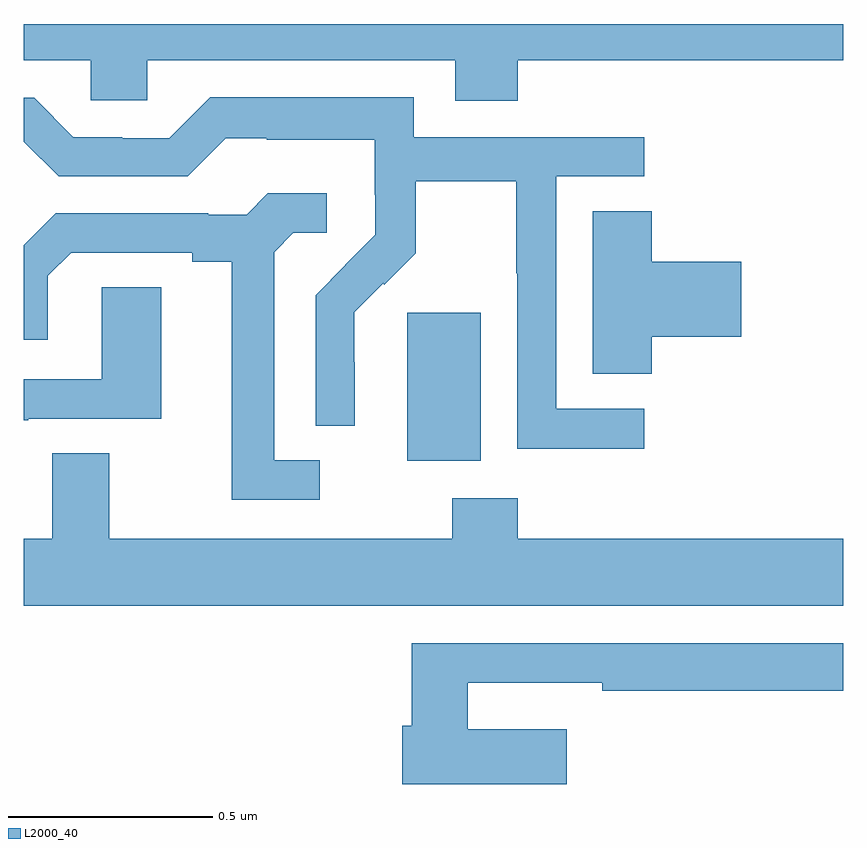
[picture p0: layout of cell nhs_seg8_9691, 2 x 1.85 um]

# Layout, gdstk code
import gdstk
lib = gdstk.Library(unit=1e-6, precision=1e-09)
def R(c, l, rs):  # rectangles x0, y0, x1, y1
    for r in rs: c.add(gdstk.rectangle(r[:2], r[2:], *l))
def P(c, l, *ps):  # polygons
    for p in ps: c.add(gdstk.Polygon(p, *l))
L2000_40 = (2000, 40)

nhs_seg8_9691 = lib.new_cell('nhs_seg8_9691')
R(nhs_seg8_9691, L2000_40, [(239.936,1136.834,240.115,1137.195)])
P(nhs_seg8_9691, L2000_40, [(240.206,1137.812),(241,1137.812),(241,1137.9),(239,1137.9),(239,1137.812),(239.163,1137.812),(239.163,1137.714),(239.301,1137.714),(239.301,1137.812),(240.053,1137.812),(240.053,1137.713),(240.206,1137.713)],
  [(240.514,1136.961),(240.3,1136.961),(240.3,1137.528),(240.514,1137.528),(240.514,1137.624),(239.952,1137.624),(239.952,1137.721),(239.455,1137.721),(239.355,1137.621),(239.24,1137.621),(239.24,1137.624),(239.121,1137.624),(239.025,1137.72),(239,1137.72),(239,1137.613),(239.085,1137.528),(239.4,1137.528),(239.493,1137.621),(239.593,1137.621),(239.593,1137.617),(239.856,1137.617),(239.856,1137.483),(239.858,1137.483),(239.858,1137.386),(239.784,1137.312),(239.785,1137.311),(239.712,1137.238),(239.712,1136.92),(239.808,1136.92),(239.808,1137.074),(239.807,1137.074),(239.807,1137.197),(239.877,1137.267),(239.88,1137.264),(239.957,1137.341),(239.957,1137.516),(240.202,1137.516),(240.202,1137.292),(240.204,1137.292),(240.204,1136.863),(240.514,1136.863)],
  [(239.722,1136.835),(239.611,1136.835),(239.611,1137.343),(239.658,1137.39),(239.74,1137.39),(239.74,1137.487),(239.596,1137.487),(239.544,1137.435),(239.45,1137.435),(239.45,1137.438),(239.078,1137.438),(239,1137.36),(239,1137.129),(239.059,1137.129),(239.059,1137.285),(239.116,1137.342),(239.411,1137.342),(239.411,1137.32),(239.507,1137.32),(239.507,1136.739),(239.722,1136.739)],
  [(240.533,1137.137),(240.751,1137.137),(240.751,1137.32),(240.533,1137.32),(240.533,1137.443),(240.389,1137.443),(240.389,1137.046),(240.533,1137.046)],
  [(239.011,1136.937),(239.335,1136.937),(239.335,1137.257),(239.19,1137.257),(239.19,1137.033),(239,1137.033),(239,1136.933),(239.011,1136.933)],
  [(241,1136.644),(240.206,1136.644),(240.206,1136.743),(240.046,1136.743),(240.046,1136.644),(239.209,1136.644),(239.209,1136.852),(239.069,1136.852),(239.069,1136.644),(239,1136.644),(239,1136.48),(241,1136.48)],
  [(240.325,1136.179),(240.083,1136.179),(240.083,1136.292),(240.412,1136.292),(240.412,1136.272),(241,1136.272),(241,1136.388),(239.947,1136.388),(239.947,1136.187),(239.924,1136.187),(239.924,1136.045),(240.325,1136.045)])

lib.write_gds('nhs_seg8_9691.gds')
